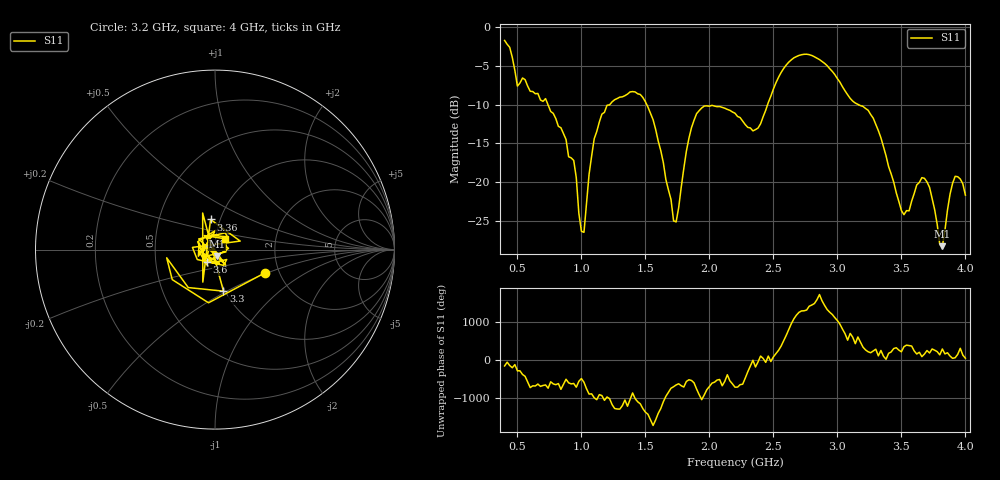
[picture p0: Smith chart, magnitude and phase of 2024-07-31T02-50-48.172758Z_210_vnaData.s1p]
!Created with skrf (http://scikit-rf.org).
# Hz S RI R 50.0
!freq ReS11 ImS11
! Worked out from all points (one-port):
!   181 points, 400 MHz to 4 GHz, reference 50 ohm
!   lowest |S11| = -28.2 dB at 3.82 GHz (marker M1), VSWR 1.08, Z = 51.1 - j3.78 ohm
!   |S11| at or under -10 dB: 738.9 MHz to 1.221 GHz (482.5 MHz wide, 49.2 % of centre); 1.511 GHz to 2.455 GHz (943.9 MHz wide, 47.6 % of centre); 3.165 GHz to end of sweep
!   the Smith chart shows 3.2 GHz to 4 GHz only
!   S11 on the Smith chart (normalised r, x): 3.2 GHz: 1.69, -0.48; 3.3 GHz: 0.98, -0.48; 3.36 GHz: 0.90, +0.31; 3.6 GHz: 0.90, -0.13; 4 GHz: 1.11, +0.14
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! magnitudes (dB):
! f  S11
! 400 MHz  -1.7
! 500 MHz  -7.6
! 720 MHz  -9.2
! 860 MHz  -13.7
! 940 MHz  -17.2
! 1 GHz  -26.3
! 1.02 GHz  -26.4
! 1.1 GHz  -14.4
! 1.3 GHz  -9.0
! 1.5 GHz  -9.6
! 1.72 GHz  -24.9
! 1.76 GHz  -23.3
! 1.9 GHz  -11.2
! 2.2 GHz  -11.1
! 2.38 GHz  -13.0
! 2.66 GHz  -4.0
! 2.86 GHz  -4.2
! 3.1 GHz  -9.2
! 3.2 GHz  -10.2
! 3.3 GHz  -12.5
! 3.36 GHz  -15.4
! 3.5 GHz  -23.6
! 3.56 GHz  -23.7
! 3.6 GHz  -21.4
! 3.7 GHz  -20.0
! 3.82 GHz  -28.2
! 3.92 GHz  -19.2
! 4 GHz  -21.7
